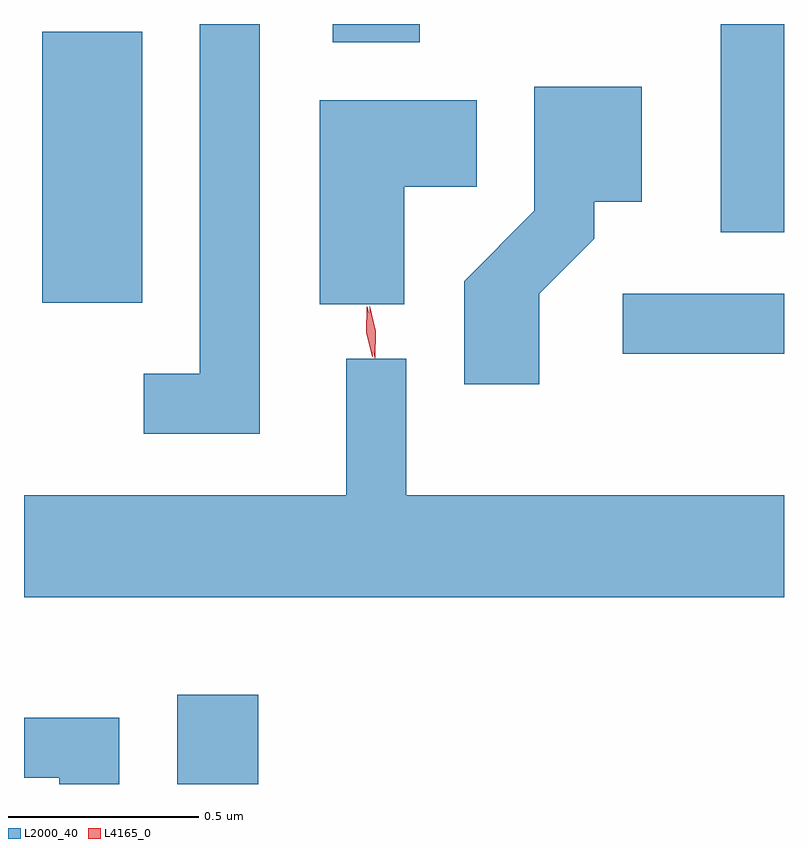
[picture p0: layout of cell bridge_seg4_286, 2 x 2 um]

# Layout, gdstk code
import gdstk
lib = gdstk.Library(unit=1e-6, precision=1e-09)
def R(c, l, rs):  # rectangles x0, y0, x1, y1
    for r in rs: c.add(gdstk.rectangle(r[:2], r[2:], *l))
def P(c, l, *ps):  # polygons
    for p in ps: c.add(gdstk.Polygon(p, *l))
L2000_40 = (2000, 40)
L4165_0 = (4165, 0)

bridge_seg4_286 = lib.new_cell('bridge_seg4_286')
R(bridge_seg4_286, L2000_40, [(559.381,1387.484,559.594,1387.719), (560.553,1388.616,560.978,1388.774), (559.026,1388.751,559.289,1389.464), (560.811,1388.936,560.978,1389.484), (559.791,1389.436,560.019,1389.484)])
P(bridge_seg4_286, L2000_40, [(559.599,1389.484),(559.441,1389.484),(559.441,1388.564),(559.293,1388.564),(559.293,1388.406),(559.599,1388.406)],
  [(560.334,1388.774),(560.479,1388.919),(560.479,1389.016),(560.604,1389.016),(560.604,1389.319),(560.321,1389.319),(560.321,1388.992),(560.136,1388.807),(560.136,1388.536),(560.334,1388.536)],
  [(559.979,1389.056),(560.169,1389.056),(560.169,1389.284),(559.756,1389.284),(559.756,1388.746),(559.979,1388.746)],
  [(560.978,1388.244),(559.984,1388.244),(559.984,1388.603),(559.826,1388.603),(559.826,1388.244),(558.978,1388.244),(558.978,1387.976),(560.978,1387.976)],
  [(559.229,1387.659),(558.978,1387.659),(558.978,1387.501),(559.071,1387.501),(559.071,1387.484),(559.229,1387.484)])
P(bridge_seg4_286, L4165_0, [(559.895,1388.608),(559.878,1388.673),(559.88,1388.74),(559.881,1388.74),(559.881,1388.74),(559.898,1388.675),(559.896,1388.608),(559.896,1388.608)],
  [(559.901,1388.605),(559.901,1388.606),(559.885,1388.673),(559.888,1388.743),(559.888,1388.743),(559.888,1388.743),(559.904,1388.675),(559.902,1388.606)])

lib.write_gds('bridge_seg4_286.gds')
